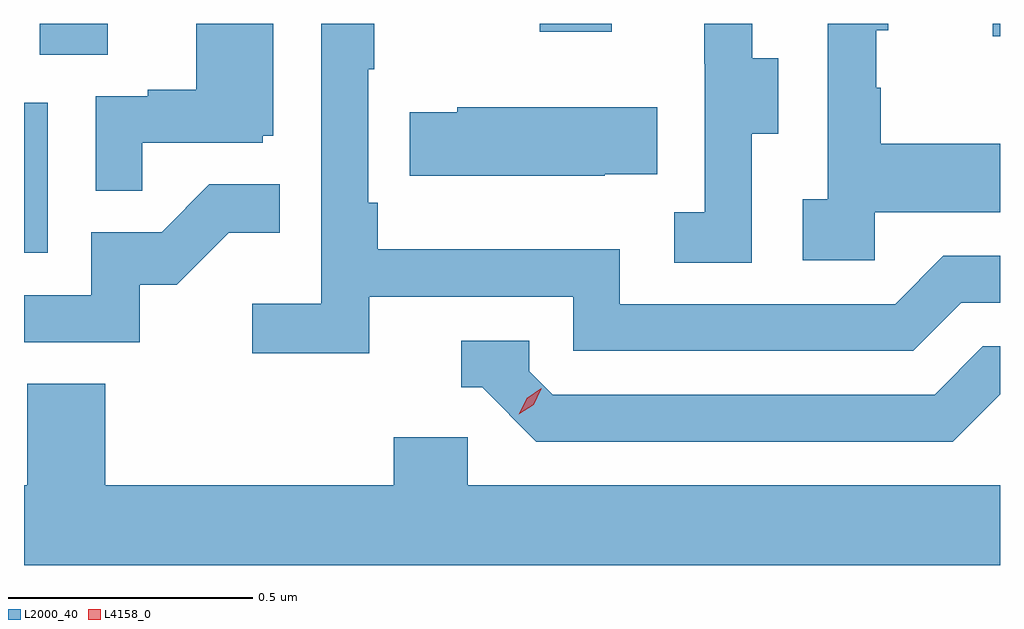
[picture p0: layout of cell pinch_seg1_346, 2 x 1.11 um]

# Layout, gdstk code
import gdstk
lib = gdstk.Library(unit=1e-6, precision=1e-09)
def R(c, l, rs):  # rectangles x0, y0, x1, y1
    for r in rs: c.add(gdstk.rectangle(r[:2], r[2:], *l))
def P(c, l, *ps):  # polygons
    for p in ps: c.add(gdstk.Polygon(p, *l))
L2000_40 = (2000, 40)
L4158_0 = (4158, 0)

pinch_seg1_346 = lib.new_cell('pinch_seg1_346')
R(pinch_seg1_346, L2000_40, [(956.865,544.38,956.914,544.687), (956.897,544.786,957.037,544.849), (958.85,544.824,958.865,544.849), (957.922,544.833,958.069,544.849)])
P(pinch_seg1_346, L2000_40, [(958.356,544.624),(958.411,544.624),(958.411,544.779),(958.357,544.779),(958.357,544.849),(958.259,544.849),(958.259,544.767),(958.26,544.767),(958.26,544.463),(958.197,544.463),(958.197,544.36),(958.356,544.36)],
  [(958.608,544.463),(958.865,544.463),(958.865,544.603),(958.621,544.603),(958.621,544.718),(958.611,544.718),(958.611,544.836),(958.636,544.836),(958.636,544.849),(958.512,544.849),(958.512,544.49),(958.461,544.49),(958.461,544.365),(958.608,544.365)],
  [(957.572,544.29),(957.99,544.29),(957.99,544.179),(958.687,544.179),(958.786,544.278),(958.865,544.278),(958.865,544.374),(958.749,544.374),(958.65,544.275),(958.086,544.275),(958.086,544.387),(957.59,544.387),(957.59,544.483),(957.57,544.483),(957.57,544.756),(957.583,544.756),(957.583,544.849),(957.474,544.849),(957.474,544.276),(957.333,544.276),(957.333,544.174),(957.572,544.174)],
  [(957.107,544.605),(957.354,544.605),(957.354,544.62),(957.376,544.62),(957.376,544.849),(957.218,544.849),(957.218,544.714),(957.119,544.714),(957.119,544.701),(957.012,544.701),(957.012,544.507),(957.107,544.507)],
  [(958.055,544.541),(958.163,544.541),(958.163,544.678),(957.753,544.678),(957.753,544.668),(957.655,544.668),(957.655,544.538),(958.055,544.538)],
  [(957.102,544.314),(957.178,544.314),(957.285,544.421),(957.389,544.421),(957.389,544.52),(957.245,544.52),(957.147,544.422),(957.003,544.422),(957.003,544.293),(956.865,544.293),(956.865,544.197),(957.102,544.197)],
  [(958.865,544.09),(958.865,544.188),(958.83,544.188),(958.731,544.089),(957.948,544.089),(957.9,544.137),(957.9,544.2),(957.761,544.2),(957.761,544.104),(957.804,544.104),(957.915,543.993),(958.768,543.993)],
  [(958.865,543.904),(957.774,543.904),(957.774,544.002),(957.623,544.002),(957.623,543.904),(957.032,543.904),(957.032,544.112),(956.872,544.112),(956.872,543.904),(956.865,543.904),(956.865,543.74),(958.865,543.74)])
P(pinch_seg1_346, L4158_0, [(957.879,544.049),(957.879,544.049),(957.895,544.082),(957.925,544.102),(957.925,544.102),(957.925,544.101),(957.91,544.069),(957.879,544.049)])

lib.write_gds('pinch_seg1_346.gds')
